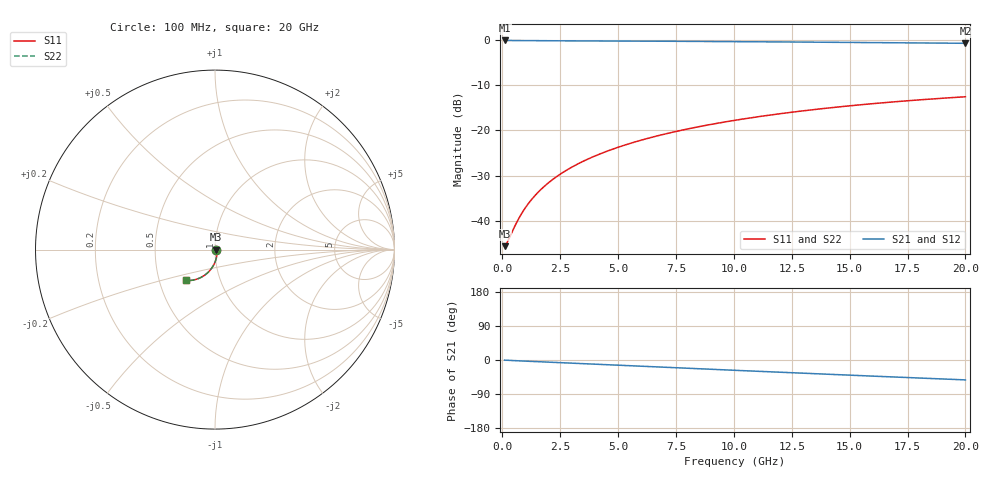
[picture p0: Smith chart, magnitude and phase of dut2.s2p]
! Touchstone file exported from HFSS 2026.1.0
!  File:  C:/ffzhzh/LocalFiles/Ansys_Project_Files/temp_test_BSMRDL_2_1782907218_43084.aedt
!  Generated:  08:01:52 PM Jul  1, 2026
!  Design:  BSMRDL
!  Project:  temp_test_BSMRDL_2_1782907218_43084
! Variables:
!  h_bsmrdl = 2.62um
!  h_ox = 20um
!  h_rdl = 5um
!  h_sub = 80um
!  h_tmrdl = 5um
!  h_tsv = 80um
!  h_via = 3um
!  l_bsmrdl = 884.64um
!  l_sub = 1284.64um
!  l_tmrdl = 200um
!  m_sub = 200um
!  pitch = 26.22um
!  r_tsv = 6um
!  s_tmrdl = 10um
!  w_bsmrdl = 24.79um
!  w_sub = 500um
!  w_tmrdl = 12um
!  x_tsv_center1 = 206um
!  x_tsv_center2 = 1115.43um
!  x_tsv_center3 = 1327.43um
!  x_tsv_center4 = 2236.86um
!  x_tsv_center5 = 2448.86um
!  x_tsv_center6 = 3358.29um
# GHz S MA R 50.000000
! Terminal data exported
! Port[1] = BSM_RDL1_1_T1
! Port[2] = BSM_RDL1_1_T2
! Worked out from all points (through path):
!   200 points, 100 MHz to 20 GHz, reference 50 ohm
!   highest |S21| = -0.05 dB at 100 MHz (marker M1); lowest = -0.7 dB at 20 GHz (marker M2)
!   group delay of S21, straight-line fit = 7.27 ps
!   lowest |S11| = -45.7 dB at 100 MHz (marker M3), VSWR 1.01, Z = 50.5 - j0.0105 ohm
!   |S11| at or under -10 dB: start of sweep to end of sweep
!   |S22| runs from -45.7 to -12.5 dB; largest |S21 - S12| = 4e-15
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0.1  0.005212 -1.1  0.9948 -0.3  0.9948 -0.3  0.005212 -1.1
! Gamma 0 0 0 0
! Port Impedance 50 0 50 0
0.2  0.005688 -3.5  0.9943 -0.7  0.9943 -0.7  0.005688 -3.5
0.6  0.009319 -22.8  0.9913 -1.9  0.9913 -1.9  0.009318 -22.7
0.7  0.01043 -27.9  0.9906 -2.2  0.9906 -2.2  0.01043 -27.9
0.9  0.01274 -37.0  0.9894 -2.7  0.9894 -2.7  0.01274 -37.0
1.2  0.01636 -47.7  0.9882 -3.5  0.9882 -3.5  0.01636 -47.7
1.5  0.02007 -55.6  0.9873 -4.3  0.9873 -4.3  0.02007 -55.6
1.9  0.0251 -63.4  0.9864 -5.4  0.9864 -5.4  0.0251 -63.4
2.4  0.03146 -70.2  0.9855 -6.7  0.9855 -6.7  0.03146 -70.2
2.9  0.03787 -75.3  0.9846 -8.1  0.9846 -8.1  0.03787 -75.3
3.5  0.04561 -80.0  0.9835 -9.7  0.9835 -9.7  0.04561 -80.0
4.2  0.05468 -84.3  0.9822 -11.6  0.9822 -11.6  0.05468 -84.3
5  0.06508 -88.3  0.9804 -13.8  0.9804 -13.8  0.06508 -88.3
5.9  0.07677 -92.2  0.9782 -16.2  0.9782 -16.2  0.07677 -92.2
6.8  0.08843 -95.6  0.9758 -18.6  0.9758 -18.6  0.08842 -95.6
8.3  0.1077 -100.8  0.9714 -22.6  0.9714 -22.6  0.1077 -100.8
10.1  0.1303 -106.4  0.9653 -27.4  0.9653 -27.4  0.1303 -106.4
11.7  0.1498 -111.0  0.9595 -31.5  0.9595 -31.5  0.1498 -111.0
13.4  0.1697 -115.8  0.9528 -35.9  0.9528 -35.9  0.1697 -115.8
15  0.1875 -120.2  0.9463 -40.0  0.9463 -40.0  0.1875 -120.2
16.7  0.2054 -124.7  0.9392 -44.3  0.9392 -44.3  0.2054 -124.7
20  0.2363 -133.2  0.9254 -52.5  0.9254 -52.5  0.2363 -133.3
